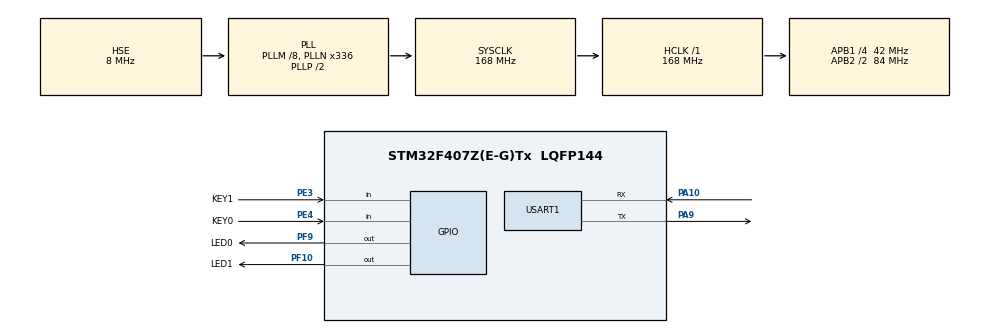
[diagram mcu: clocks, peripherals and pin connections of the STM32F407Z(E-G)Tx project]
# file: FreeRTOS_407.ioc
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FREERTOS.Tasks01=defaultTask,0,128,StartDefaultTask,Default,NULL
Mcu.Family=STM32F4
Mcu.Name=STM32F407Z(E-G)Tx
Mcu.Package=LQFP144
NVIC.PriorityGroup=NVIC_PRIORITYGROUP_4
NVIC.TIM6_DAC_IRQn=true\:0\:0\:false\:false\:true\:false
PA10.Mode=Asynchronous
PA10.Signal=USART1_RX
PA9.Mode=Asynchronous
PA9.Signal=USART1_TX
PE3.GPIO_Label=KEY1
PE3.GPIO_PuPd=GPIO_PULLUP
PE3.Signal=GPIO_Input
PE4.GPIO_Label=KEY0
PE4.GPIO_PuPd=GPIO_PULLUP
PE4.Signal=GPIO_Input
PF10.GPIO_Label=LED1
PF10.GPIO_PuPd=GPIO_PULLDOWN
PF10.PinState=GPIO_PIN_SET
PF10.Signal=GPIO_Output
PF9.GPIO_Label=LED0
PF9.GPIO_PuPd=GPIO_PULLDOWN
PF9.PinState=GPIO_PIN_SET
PF9.Signal=GPIO_Output
PH0-OSC_IN.Mode=HSE-External-Oscillator
PH0-OSC_IN.Signal=RCC_OSC_IN
PH1-OSC_OUT.Mode=HSE-External-Oscillator
PH1-OSC_OUT.Signal=RCC_OSC_OUT
ProjectManager.HeapSize=0x200
ProjectManager.StackSize=0x400
ProjectManager.TargetToolchain=MDK-ARM V5
RCC.48MHZClocksFreq_Value=84000000
RCC.AHBFreq_Value=168000000
RCC.APB1CLKDivider=RCC_HCLK_DIV4
RCC.APB1Freq_Value=42000000
RCC.APB1TimFreq_Value=84000000
RCC.APB2CLKDivider=RCC_HCLK_DIV2
RCC.APB2Freq_Value=84000000
RCC.APB2TimFreq_Value=168000000
RCC.CortexFreq_Value=168000000
RCC.EnbaleCSS=true
RCC.HCLKFreq_Value=168000000
RCC.HSE_VALUE=8000000
RCC.HSI_VALUE=16000000
RCC.LSE_VALUE=32768
RCC.PLLM=8
RCC.PLLN=336
RCC.PLLSourceVirtual=RCC_PLLSOURCE_HSE
RCC.SYSCLKFreq_VALUE=168000000
RCC.SYSCLKSource=RCC_SYSCLKSOURCE_PLLCLK
RCC.VCOOutputFreq_Value=336000000
USART1.VirtualMode=VM_ASYNC
VP_FREERTOS_VS_ENABLE.Mode=Enabled
VP_TIM6_VS_ClockSourceINT.Mode=Enable_Timer
board=FreeRTOS_407

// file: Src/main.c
/**
  ******************************************************************************
  * File Name          : main.c
  * Description        : Main program body
  ******************************************************************************
  * This notice applies to any and all portions of this file
  * that are not between comment pairs USER CODE BEGIN and
  * USER CODE END. Other portions of this file, whether
  * inserted by the user or by software development tools
  * are owned by their respective copyright owners.
  *
  * Copyright (c) 2017 STMicroelectronics International N.V.
  * All rights reserved.
  *
  * Redistribution and use in source and binary forms, with or without
  * modification, are permitted, provided that the following conditions are met:
  *
  * 1. Redistribution of source code must retain the above copyright notice,
  *    this list of conditions and the following disclaimer.
  * 2. Redistributions in binary form must reproduce the above copyright notice,
  *    this list of conditions and the following disclaimer in the documentation
  *    and/or other materials provided with the distribution.
  * 3. Neither the name of STMicroelectronics nor the names of other
  *    contributors to this software may be used to endorse or promote products
  *    derived from this software without specific written permission.
  * 4. This software, including modifications and/or derivative works of this
  *    software, must execute solely and exclusively on microcontroller or
  *    microprocessor devices manufactured by or for STMicroelectronics.
  * 5. Redistribution and use of this software other than as permitted under
  *    this license is void and will automatically terminate your rights under
  *    this license.
  *
  * THIS SOFTWARE IS PROVIDED BY STMICROELECTRONICS AND CONTRIBUTORS "AS IS"
  * AND ANY EXPRESS, IMPLIED OR STATUTORY WARRANTIES, INCLUDING, BUT NOT
  * LIMITED TO, THE IMPLIED WARRANTIES OF MERCHANTABILITY, FITNESS FOR A
  * PARTICULAR PURPOSE AND NON-INFRINGEMENT OF THIRD PARTY INTELLECTUAL PROPERTY
  * RIGHTS ARE DISCLAIMED TO THE FULLEST EXTENT PERMITTED BY LAW. IN NO EVENT
  * SHALL STMICROELECTRONICS OR CONTRIBUTORS BE LIABLE FOR ANY DIRECT, INDIRECT,
  * INCIDENTAL, SPECIAL, EXEMPLARY, OR CONSEQUENTIAL DAMAGES (INCLUDING, BUT NOT
  * LIMITED TO, PROCUREMENT OF SUBSTITUTE GOODS OR SERVICES; LOSS OF USE, DATA,
  * OR PROFITS; OR BUSINESS INTERRUPTION) HOWEVER CAUSED AND ON ANY THEORY OF
  * LIABILITY, WHETHER IN CONTRACT, STRICT LIABILITY, OR TORT (INCLUDING
  * NEGLIGENCE OR OTHERWISE) ARISING IN ANY WAY OUT OF THE USE OF THIS SOFTWARE,
  * EVEN IF ADVISED OF THE POSSIBILITY OF SUCH DAMAGE.
  *
  ******************************************************************************
  */
#include "main.h"
#include "stm32f4xx_hal.h"
#include "cmsis_os.h"

/* USER CODE BEGIN Includes */
#include "stdio.h"
#include "serial_debug_task.h"
#include "bsp_device.h"
/* USER CODE END Includes */

UART_HandleTypeDef huart1;

osThreadId defaultTaskHandle;

/* USER CODE BEGIN PV */
/* Private variables ---------------------------------------------------------*/

/* USER CODE END PV */

void SystemClock_Config(void);
static void MX_GPIO_Init(void);
static void MX_USART1_UART_Init(void);
void StartDefaultTask(void const * argument);

/* USER CODE BEGIN PFP */
/* Private function prototypes -----------------------------------------------*/

/* USER CODE END PFP */

/* USER CODE BEGIN 0 */

#pragma import(__use_no_semihosting)

void _sys_exit(int x)
{
	x = x;
}

struct __FILE
{
	int handle;
};
FILE __stdout;

int fputc(int ch, FILE *f)
{
//	USART_SendData(DEBUG_USART, (unsigned char) ch);
	HAL_UART_Transmit(&huart1,(uint8_t*)&ch,1,0xffff);
	return 0;
}

/* USER CODE END 0 */

int main(void)
{

  /* MCU Configuration----------------------------------------------------------*/

  /* Reset of all peripherals, Initializes the Flash interface and the Systick. */
  HAL_Init();

  /* Configure the system clock */
  SystemClock_Config();

  /* Initialize all configured peripherals */
  MX_GPIO_Init();
  MX_USART1_UART_Init();
  MX_TIM6_Init();
//	MX_GPIO_Init();
  /* USER CODE BEGIN 2 */
	bsp_InitKey();
	printf("BSP Init end\r\n");
  /* USER CODE END 2 */

  /* Create the thread(s) */
  /* definition and creation of defaultTask */
  osThreadDef(defaultTask, StartDefaultTask, osPriorityNormal, 0, 128);
  defaultTaskHandle = osThreadCreate(osThread(defaultTask), NULL);
	{
		extern void vTask_Serial_Debug(void);
		vTask_Serial_Debug();
	}

  /* Start scheduler */
  osKernelStart();

  /* We should never get here as control is now taken by the scheduler */

  /* Infinite loop */
  while (1)
  {

  }

}

/** System Clock Configuration
*/
void SystemClock_Config(void)
{

  RCC_OscInitTypeDef RCC_OscInitStruct;
  RCC_ClkInitTypeDef RCC_ClkInitStruct;

    /**Configure the main internal regulator output voltage
    */
  __HAL_RCC_PWR_CLK_ENABLE();

  __HAL_PWR_VOLTAGESCALING_CONFIG(PWR_REGULATOR_VOLTAGE_SCALE1);

    /**Initializes the CPU, AHB and APB busses clocks
    */
  RCC_OscInitStruct.OscillatorType = RCC_OSCILLATORTYPE_HSE;
  RCC_OscInitStruct.HSEState = RCC_HSE_ON;
  RCC_OscInitStruct.PLL.PLLState = RCC_PLL_ON;
  RCC_OscInitStruct.PLL.PLLSource = RCC_PLLSOURCE_HSE;
  RCC_OscInitStruct.PLL.PLLM = 8;
  RCC_OscInitStruct.PLL.PLLN = 336;
  RCC_OscInitStruct.PLL.PLLP = RCC_PLLP_DIV2;
  RCC_OscInitStruct.PLL.PLLQ = 4;
  if (HAL_RCC_OscConfig(&RCC_OscInitStruct) != HAL_OK)
  {
    _Error_Handler(__FILE__, __LINE__);
  }

    /**Initializes the CPU, AHB and APB busses clocks
    */
  RCC_ClkInitStruct.ClockType = RCC_CLOCKTYPE_HCLK|RCC_CLOCKTYPE_SYSCLK
                              |RCC_CLOCKTYPE_PCLK1|RCC_CLOCKTYPE_PCLK2;
  RCC_ClkInitStruct.SYSCLKSource = RCC_SYSCLKSOURCE_PLLCLK;
  RCC_ClkInitStruct.AHBCLKDivider = RCC_SYSCLK_DIV1;
  RCC_ClkInitStruct.APB1CLKDivider = RCC_HCLK_DIV4;
  RCC_ClkInitStruct.APB2CLKDivider = RCC_HCLK_DIV2;

  if (HAL_RCC_ClockConfig(&RCC_ClkInitStruct, FLASH_LATENCY_5) != HAL_OK)
  {
    _Error_Handler(__FILE__, __LINE__);
  }

    /**Enables the Clock Security System
    */
  HAL_RCC_EnableCSS();

    /**Configure the Systick interrupt time
    */
  HAL_SYSTICK_Config(HAL_RCC_GetHCLKFreq()/1000);

    /**Configure the Systick
    */
  HAL_SYSTICK_CLKSourceConfig(SYSTICK_CLKSOURCE_HCLK);

  /* SysTick_IRQn interrupt configuration */
  HAL_NVIC_SetPriority(SysTick_IRQn, 15, 0);
}

/* USART1 init function */
static void MX_USART1_UART_Init(void)
{

  huart1.Instance = USART1;
  huart1.Init.BaudRate = 115200;
  huart1.Init.WordLength = UART_WORDLENGTH_8B;
  huart1.Init.StopBits = UART_STOPBITS_1;
  huart1.Init.Parity = UART_PARITY_NONE;
  huart1.Init.Mode = UART_MODE_TX_RX;
  huart1.Init.HwFlowCtl = UART_HWCONTROL_NONE;
  huart1.Init.OverSampling = UART_OVERSAMPLING_16;
  if (HAL_UART_Init(&huart1) != HAL_OK)
  {
    _Error_Handler(__FILE__, __LINE__);
  }

}
static void MX_GPIO_Init(void)
{
  GPIO_InitTypeDef GPIO_InitStruct;

  /* GPIO Ports Clock Enable */
  __HAL_RCC_GPIOE_CLK_ENABLE();
  __HAL_RCC_GPIOF_CLK_ENABLE();
  __HAL_RCC_GPIOH_CLK_ENABLE();
  __HAL_RCC_GPIOA_CLK_ENABLE();

  /*Configure GPIO pin Output Level */
  HAL_GPIO_WritePin(GPIOF, LED0_Pin|LED1_Pin, GPIO_PIN_SET);

  /*Configure GPIO pins : KEY1_Pin KEY0_Pin */
  GPIO_InitStruct.Pin = KEY1_Pin|KEY0_Pin;
  GPIO_InitStruct.Mode = GPIO_MODE_INPUT;
  GPIO_InitStruct.Pull = GPIO_PULLUP;
  HAL_GPIO_Init(GPIOE, &GPIO_InitStruct);

  /*Configure GPIO pins : LED0_Pin LED1_Pin */
  GPIO_InitStruct.Pin = LED0_Pin|LED1_Pin;
  GPIO_InitStruct.Mode = GPIO_MODE_OUTPUT_PP;
  GPIO_InitStruct.Pull = GPIO_PULLDOWN;
  GPIO_InitStruct.Speed = GPIO_SPEED_FREQ_LOW;
  HAL_GPIO_Init(GPIOF, &GPIO_InitStruct);
}

/* StartDefaultTask function */
void StartDefaultTask(void const * argument)
{

  /* USER CODE BEGIN 5 */
  /* Infinite loop */
  for(;;)
  {
    osDelay(1);
		HAL_GPIO_TogglePin(LED0_GPIO_Port,LED0_Pin);
  }
  /* USER CODE END 5 */
}

void _Error_Handler(char * file, int line)
{
  while(1)
  {
  }
}

/************************ (C) COPYRIGHT STMicroelectronics *****END OF FILE****/
